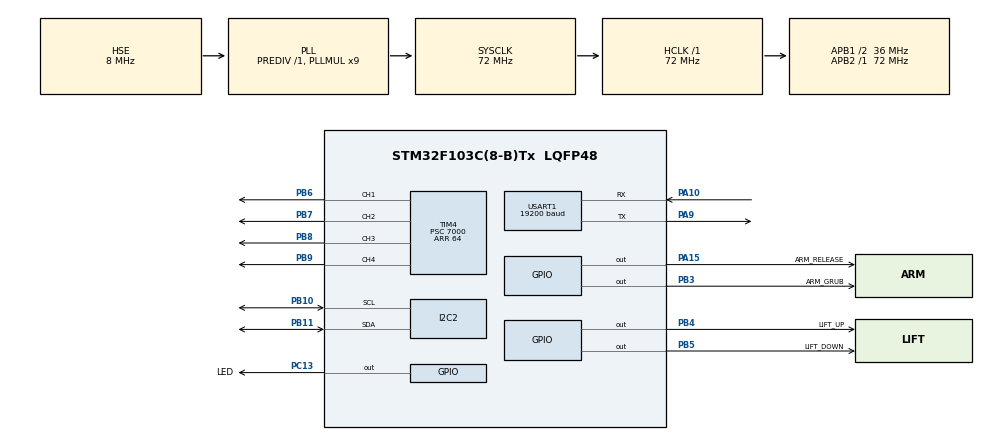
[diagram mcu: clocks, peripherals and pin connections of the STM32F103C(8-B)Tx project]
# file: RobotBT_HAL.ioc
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I2C2.I2C_Mode=I2C_Standard
Mcu.Family=STM32F1
Mcu.Name=STM32F103C(8-B)Tx
Mcu.Package=LQFP48
NVIC.PriorityGroup=NVIC_PRIORITYGROUP_4
NVIC.RCC_IRQn=true\:0\:0\:false\:false\:true
NVIC.USART1_IRQn=true\:0\:0\:false\:false\:true
PA10.Mode=Asynchronous
PA10.Signal=USART1_RX
PA13.Mode=Serial_Wire
PA13.Signal=SYS_JTMS-SWDIO
PA14.Mode=Serial_Wire
PA14.Signal=SYS_JTCK-SWCLK
PA15.GPIO_Label=ARM_RELEASE
PA15.Signal=GPIO_Output
PA9.Mode=Asynchronous
PA9.Signal=USART1_TX
PB10.Mode=I2C
PB10.Signal=I2C2_SCL
PB11.Mode=I2C
PB11.Signal=I2C2_SDA
PB3.GPIO_Label=ARM_GRUB
PB3.Signal=GPIO_Output
PB4.GPIO_Label=LIFT_UP
PB4.GPIO_ModeDefaultOutputPP=GPIO_MODE_OUTPUT_PP
PB4.GPIO_Speed=GPIO_SPEED_FREQ_LOW
PB4.Signal=GPIO_Output
PB5.GPIO_Label=LIFT_DOWN
PB5.GPIO_ModeDefaultOutputPP=GPIO_MODE_OUTPUT_PP
PB5.GPIO_Speed=GPIO_SPEED_FREQ_LOW
PB5.PinState=GPIO_PIN_RESET
PB5.Signal=GPIO_Output
PB6.GPIO_Speed=GPIO_SPEED_FREQ_LOW
PB6.Signal=S_TIM4_CH1
PB7.GPIO_Speed=GPIO_SPEED_FREQ_LOW
PB7.Signal=S_TIM4_CH2
PB8.GPIO_Speed=GPIO_SPEED_FREQ_LOW
PB8.Signal=S_TIM4_CH3
PB9.GPIO_Speed=GPIO_SPEED_FREQ_LOW
PB9.Signal=S_TIM4_CH4
PC13-TAMPER-RTC.GPIO_Label=LED
PC13-TAMPER-RTC.GPIO_Speed=GPIO_SPEED_FREQ_HIGH
PC13-TAMPER-RTC.Signal=GPIO_Output
PD0-OSC_IN.Mode=HSE-External-Oscillator
PD0-OSC_IN.Signal=RCC_OSC_IN
PD1-OSC_OUT.Mode=HSE-External-Oscillator
PD1-OSC_OUT.Signal=RCC_OSC_OUT
ProjectManager.HeapSize=0x200
ProjectManager.StackSize=0x400
ProjectManager.TargetToolchain=MDK-ARM V5
RCC.AHBFreq_Value=72000000
RCC.APB1CLKDivider=RCC_HCLK_DIV2
RCC.APB1Freq_Value=36000000
RCC.APB1TimFreq_Value=72000000
RCC.APB2Freq_Value=72000000
RCC.APB2TimFreq_Value=72000000
RCC.HCLKFreq_Value=72000000
RCC.PLLMUL=RCC_PLL_MUL9
RCC.PLLSourceVirtual=RCC_PLLSOURCE_HSE
RCC.SYSCLKFreq_VALUE=72000000
RCC.SYSCLKSource=RCC_SYSCLKSOURCE_PLLCLK
RCC.USBFreq_Value=72000000
SH.S_TIM4_CH1.0=TIM4_CH1,PWM Generation1 CH1
SH.S_TIM4_CH2.0=TIM4_CH2,PWM Generation2 CH2
SH.S_TIM4_CH3.0=TIM4_CH3,PWM Generation3 CH3
SH.S_TIM4_CH4.0=TIM4_CH4,PWM Generation4 CH4
TIM4.Channel-PWM\ Generation1\ CH1=TIM_CHANNEL_1
TIM4.Channel-PWM\ Generation2\ CH2=TIM_CHANNEL_2
TIM4.Channel-PWM\ Generation3\ CH3=TIM_CHANNEL_3
TIM4.Channel-PWM\ Generation4\ CH4=TIM_CHANNEL_4
TIM4.Period=64
TIM4.Prescaler=7000
USART1.BaudRate=19200
USART1.VirtualMode=VM_ASYNC
VP_TIM4_VS_ClockSourceINT.Mode=Internal
board=RobotBT_HAL

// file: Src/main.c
/**
  ******************************************************************************
  * File Name          : main.c
  * Description        : Main program body
  ******************************************************************************
  ** This notice applies to any and all portions of this file
  * that are not between comment pairs USER CODE BEGIN and
  * USER CODE END. Other portions of this file, whether
  * inserted by the user or by software development tools
  * are owned by their respective copyright owners.
  *
  * COPYRIGHT(c) 2017 STMicroelectronics
  *
  * Redistribution and use in source and binary forms, with or without modification,
  * are permitted provided that the following conditions are met:
  *   1. Redistributions of source code must retain the above copyright notice,
  *      this list of conditions and the following disclaimer.
  *   2. Redistributions in binary form must reproduce the above copyright notice,
  *      this list of conditions and the following disclaimer in the documentation
  *      and/or other materials provided with the distribution.
  *   3. Neither the name of STMicroelectronics nor the names of its contributors
  *      may be used to endorse or promote products derived from this software
  *      without specific prior written permission.
  *
  * THIS SOFTWARE IS PROVIDED BY THE COPYRIGHT HOLDERS AND CONTRIBUTORS "AS IS"
  * AND ANY EXPRESS OR IMPLIED WARRANTIES, INCLUDING, BUT NOT LIMITED TO, THE
  * IMPLIED WARRANTIES OF MERCHANTABILITY AND FITNESS FOR A PARTICULAR PURPOSE ARE
  * DISCLAIMED. IN NO EVENT SHALL THE COPYRIGHT HOLDER OR CONTRIBUTORS BE LIABLE
  * FOR ANY DIRECT, INDIRECT, INCIDENTAL, SPECIAL, EXEMPLARY, OR CONSEQUENTIAL
  * DAMAGES (INCLUDING, BUT NOT LIMITED TO, PROCUREMENT OF SUBSTITUTE GOODS OR
  * SERVICES; LOSS OF USE, DATA, OR PROFITS; OR BUSINESS INTERRUPTION) HOWEVER
  * CAUSED AND ON ANY THEORY OF LIABILITY, WHETHER IN CONTRACT, STRICT LIABILITY,
  * OR TORT (INCLUDING NEGLIGENCE OR OTHERWISE) ARISING IN ANY WAY OUT OF THE USE
  * OF THIS SOFTWARE, EVEN IF ADVISED OF THE POSSIBILITY OF SUCH DAMAGE.
  *
  ******************************************************************************
  */
#include "main.h"
#include "stm32f1xx_hal.h"

/* USER CODE BEGIN Includes */
#include "hwdrv.h"
#include "motor.h"
#include "mpu6050.h"

/* USER CODE END Includes */

I2C_HandleTypeDef hi2c2;

TIM_HandleTypeDef htim4;

UART_HandleTypeDef huart1;

/* USER CODE BEGIN PV */
/* Private variables ---------------------------------------------------------*/

uint8_t cmd_count = 0;
uint8_t status = 0;
uint8_t arm_status = 0;
uint8_t count = 0;
uint16_t sensor_data = 0xFFFF;

uint8_t cmd[RXNUM] = { '\0' };
uint8_t response[TXNUM] = { '\0' };
uint8_t drv1 = MIDPWM;
uint8_t drv2 = MIDPWM;

/* USER CODE END PV */

void SystemClock_Config(void);
static void MX_GPIO_Init(void);
static void MX_USART1_UART_Init(void);
static void MX_TIM4_Init(void);
static void MX_I2C2_Init(void);

void HAL_TIM_MspPostInit(TIM_HandleTypeDef *htim);

/* USER CODE BEGIN PFP */
/* Private function prototypes -----------------------------------------------*/

/* USER CODE END PFP */

int main(void)
{

  /* MCU Configuration----------------------------------------------------------*/

  /* Reset of all peripherals, Initializes the Flash interface and the Systick. */
  HAL_Init();

  /* Configure the system clock */
  SystemClock_Config();

  /* Initialize all configured peripherals */
  MX_GPIO_Init();
  MX_USART1_UART_Init();
  MX_TIM4_Init();
  MX_I2C2_Init();

  /* USER CODE BEGIN 2 */
  __HAL_UART_ENABLE_IT(&huart1, UART_IT_RXNE);
  __HAL_UART_ENABLE_IT(&huart1, UART_IT_TC);
  HAL_TIM_PWM_Start(&htim4, TIM_CHANNEL_1);
  HAL_TIM_PWM_Start(&htim4, TIM_CHANNEL_2);
  HAL_TIM_PWM_Start(&htim4, TIM_CHANNEL_3);
  HAL_TIM_PWM_Start(&htim4, TIM_CHANNEL_4);

  //MPU6050_Initialize();
  //MPU6050_GetDeviceID();

  /* USER CODE END 2 */

  /* Infinite loop */
  while (1)
  {

  /* USER CODE BEGIN 3 */
    count++;
    if (count >= FAILURES)
    {
      status = 0;
      drv1 = MIDPWM;
      drv2 = MIDPWM;
      count = 0;
    }
    status_handler();
    move();
    HAL_Delay(100);

    HAL_GPIO_TogglePin(LED_GPIO_Port, LED_Pin);

    response[0] = STARTMARKER;
    response[1] = status;
    response[2] = drv1;
    response[3] = drv2;
    response[4] = 0;
    response[5] = 0;
    response[6] = STOPMARKER;

    HAL_UART_Transmit_IT(&huart1, (uint8_t *)response, TXNUM);

  }

  /* USER CODE END 3 */

}

/** System Clock Configuration
*/
void SystemClock_Config(void)
{

  RCC_OscInitTypeDef RCC_OscInitStruct;
  RCC_ClkInitTypeDef RCC_ClkInitStruct;

    /**Initializes the CPU, AHB and APB busses clocks
    */
  RCC_OscInitStruct.OscillatorType = RCC_OSCILLATORTYPE_HSE;
  RCC_OscInitStruct.HSEState = RCC_HSE_ON;
  RCC_OscInitStruct.HSEPredivValue = RCC_HSE_PREDIV_DIV1;
  RCC_OscInitStruct.HSIState = RCC_HSI_ON;
  RCC_OscInitStruct.PLL.PLLState = RCC_PLL_ON;
  RCC_OscInitStruct.PLL.PLLSource = RCC_PLLSOURCE_HSE;
  RCC_OscInitStruct.PLL.PLLMUL = RCC_PLL_MUL9;
  if (HAL_RCC_OscConfig(&RCC_OscInitStruct) != HAL_OK)
  {
    _Error_Handler(__FILE__, __LINE__);
  }

    /**Initializes the CPU, AHB and APB busses clocks
    */
  RCC_ClkInitStruct.ClockType = RCC_CLOCKTYPE_HCLK|RCC_CLOCKTYPE_SYSCLK
                              |RCC_CLOCKTYPE_PCLK1|RCC_CLOCKTYPE_PCLK2;
  RCC_ClkInitStruct.SYSCLKSource = RCC_SYSCLKSOURCE_PLLCLK;
  RCC_ClkInitStruct.AHBCLKDivider = RCC_SYSCLK_DIV1;
  RCC_ClkInitStruct.APB1CLKDivider = RCC_HCLK_DIV2;
  RCC_ClkInitStruct.APB2CLKDivider = RCC_HCLK_DIV1;

  if (HAL_RCC_ClockConfig(&RCC_ClkInitStruct, FLASH_LATENCY_2) != HAL_OK)
  {
    _Error_Handler(__FILE__, __LINE__);
  }

    /**Configure the Systick interrupt time
    */
  HAL_SYSTICK_Config(HAL_RCC_GetHCLKFreq()/1000);

    /**Configure the Systick
    */
  HAL_SYSTICK_CLKSourceConfig(SYSTICK_CLKSOURCE_HCLK);

  /* SysTick_IRQn interrupt configuration */
  HAL_NVIC_SetPriority(SysTick_IRQn, 0, 0);
}

/* I2C2 init function */
static void MX_I2C2_Init(void)
{

  hi2c2.Instance = I2C2;
  hi2c2.Init.ClockSpeed = 100000;
  hi2c2.Init.DutyCycle = I2C_DUTYCYCLE_2;
  hi2c2.Init.OwnAddress1 = 0;
  hi2c2.Init.AddressingMode = I2C_ADDRESSINGMODE_7BIT;
  hi2c2.Init.DualAddressMode = I2C_DUALADDRESS_DISABLE;
  hi2c2.Init.OwnAddress2 = 0;
  hi2c2.Init.GeneralCallMode = I2C_GENERALCALL_DISABLE;
  hi2c2.Init.NoStretchMode = I2C_NOSTRETCH_DISABLE;
  if (HAL_I2C_Init(&hi2c2) != HAL_OK)
  {
    _Error_Handler(__FILE__, __LINE__);
  }

}

/* TIM4 init function */
static void MX_TIM4_Init(void)
{

  TIM_ClockConfigTypeDef sClockSourceConfig;
  TIM_MasterConfigTypeDef sMasterConfig;
  TIM_OC_InitTypeDef sConfigOC;

  htim4.Instance = TIM4;
  htim4.Init.Prescaler = 7000;
  htim4.Init.CounterMode = TIM_COUNTERMODE_UP;
  htim4.Init.Period = 64;
  htim4.Init.ClockDivision = TIM_CLOCKDIVISION_DIV1;
  //htim4.Init.AutoReloadPreload = TIM_AUTORELOAD_PRELOAD_DISABLE;
  if (HAL_TIM_Base_Init(&htim4) != HAL_OK)
  {
    _Error_Handler(__FILE__, __LINE__);
  }

  sClockSourceConfig.ClockSource = TIM_CLOCKSOURCE_INTERNAL;
  if (HAL_TIM_ConfigClockSource(&htim4, &sClockSourceConfig) != HAL_OK)
  {
    _Error_Handler(__FILE__, __LINE__);
  }

  if (HAL_TIM_PWM_Init(&htim4) != HAL_OK)
  {
    _Error_Handler(__FILE__, __LINE__);
  }

  sMasterConfig.MasterOutputTrigger = TIM_TRGO_RESET;
  sMasterConfig.MasterSlaveMode = TIM_MASTERSLAVEMODE_DISABLE;
  if (HAL_TIMEx_MasterConfigSynchronization(&htim4, &sMasterConfig) != HAL_OK)
  {
    _Error_Handler(__FILE__, __LINE__);
  }

  sConfigOC.OCMode = TIM_OCMODE_PWM1;
  sConfigOC.Pulse = 0;
  sConfigOC.OCPolarity = TIM_OCPOLARITY_HIGH;
  sConfigOC.OCFastMode = TIM_OCFAST_DISABLE;
  if (HAL_TIM_PWM_ConfigChannel(&htim4, &sConfigOC, TIM_CHANNEL_1) != HAL_OK)
  {
    _Error_Handler(__FILE__, __LINE__);
  }

  if (HAL_TIM_PWM_ConfigChannel(&htim4, &sConfigOC, TIM_CHANNEL_2) != HAL_OK)
  {
    _Error_Handler(__FILE__, __LINE__);
  }

  if (HAL_TIM_PWM_ConfigChannel(&htim4, &sConfigOC, TIM_CHANNEL_3) != HAL_OK)
  {
    _Error_Handler(__FILE__, __LINE__);
  }

  if (HAL_TIM_PWM_ConfigChannel(&htim4, &sConfigOC, TIM_CHANNEL_4) != HAL_OK)
  {
    _Error_Handler(__FILE__, __LINE__);
  }

  HAL_TIM_MspPostInit(&htim4);

}

/* USART1 init function */
static void MX_USART1_UART_Init(void)
{

  huart1.Instance = USART1;
  huart1.Init.BaudRate = 19200;
  huart1.Init.WordLength = UART_WORDLENGTH_8B;
  huart1.Init.StopBits = UART_STOPBITS_1;
  huart1.Init.Parity = UART_PARITY_NONE;
  huart1.Init.Mode = UART_MODE_TX_RX;
  huart1.Init.HwFlowCtl = UART_HWCONTROL_NONE;
  huart1.Init.OverSampling = UART_OVERSAMPLING_16;
  if (HAL_UART_Init(&huart1) != HAL_OK)
  {
    _Error_Handler(__FILE__, __LINE__);
  }

}

/** Configure pins as
        * Analog
        * Input
        * Output
        * EVENT_OUT
        * EXTI
*/
static void MX_GPIO_Init(void)
{

  GPIO_InitTypeDef GPIO_InitStruct;

  /* GPIO Ports Clock Enable */
  __HAL_RCC_GPIOC_CLK_ENABLE();
  __HAL_RCC_GPIOD_CLK_ENABLE();
  __HAL_RCC_GPIOB_CLK_ENABLE();
  __HAL_RCC_GPIOA_CLK_ENABLE();

  /*Configure GPIO pin Output Level */
  HAL_GPIO_WritePin(LED_GPIO_Port, LED_Pin, GPIO_PIN_RESET);

  /*Configure GPIO pin Output Level */
  HAL_GPIO_WritePin(ARM_RELEASE_GPIO_Port, ARM_RELEASE_Pin, GPIO_PIN_RESET);

  /*Configure GPIO pin Output Level */
  HAL_GPIO_WritePin(GPIOB, ARM_GRUB_Pin|LIFT_UP_Pin|LIFT_DOWN_Pin, GPIO_PIN_RESET);

  /*Configure GPIO pin : LED_Pin */
  GPIO_InitStruct.Pin = LED_Pin;
  GPIO_InitStruct.Mode = GPIO_MODE_OUTPUT_PP;
  GPIO_InitStruct.Speed = GPIO_SPEED_FREQ_HIGH;
  HAL_GPIO_Init(LED_GPIO_Port, &GPIO_InitStruct);

  /*Configure GPIO pin : ARM_RELEASE_Pin */
  GPIO_InitStruct.Pin = ARM_RELEASE_Pin;
  GPIO_InitStruct.Mode = GPIO_MODE_OUTPUT_PP;
  GPIO_InitStruct.Speed = GPIO_SPEED_FREQ_LOW;
  HAL_GPIO_Init(ARM_RELEASE_GPIO_Port, &GPIO_InitStruct);

  /*Configure GPIO pins : ARM_GRUB_Pin LIFT_UP_Pin LIFT_DOWN_Pin */
  GPIO_InitStruct.Pin = ARM_GRUB_Pin|LIFT_UP_Pin|LIFT_DOWN_Pin;
  GPIO_InitStruct.Mode = GPIO_MODE_OUTPUT_PP;
  GPIO_InitStruct.Speed = GPIO_SPEED_FREQ_LOW;
  HAL_GPIO_Init(GPIOB, &GPIO_InitStruct);

}

void _Error_Handler(char * file, int line)
{
  while(1)
  {
  }
}

/************************ (C) COPYRIGHT STMicroelectronics *****END OF FILE****/
